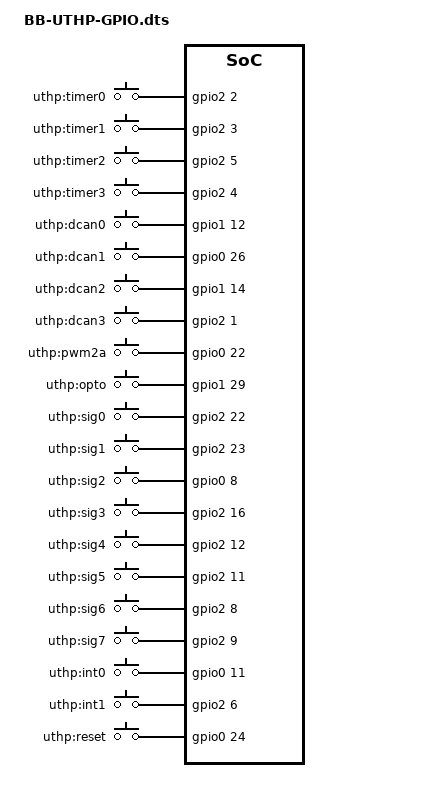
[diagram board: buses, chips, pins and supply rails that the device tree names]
/dts-v1/;
/plugin/;

/ {
    compatible = "ti,beaglebone", "ti,beaglebone-black";
    part-number = "UTHP-GPIO";
    version = "00A0";

    fragment@0 {
        target = <&am33xx_pinmux>;
        __overlay__ {
            uthp_gpio_keys_pins: pinmux_uthp_gpio_keys_pins {
                pinctrl-single,pins = <
                /* TIMER PINS */
                    0x090 0x07  /* P8_07: gpio2_2 (output) */
                    0x094 0x07  /* P8_08: gpio2_3 (output) */
                    0x098 0x07  /* P8_09: gpio2_5 (output) */
                    0x09C 0x07  /* P8_10: gpio2_4 (output) */
                /* DCAN BITBANG PINS */
                    0x030 0x27  /* P8_12: gpio1_12 (input) */
                    0x028 0x07  /* P8_14: gpio0_26 (output)*/
                    0x038 0x27  /* P8_16: gpio1_14 (input) */
                    0x08C 0x07  /* P8_18: gpio2_1 (output) */
                
                /* PWM2A */
                    0x020 0x07  /* P8_19: gpio0_22 (output) */
                
                /* OPTOISO */
                    0x07C 0x27  /* P8_26: gpio1_29 (input) */

                /* Sigrok */
                    0x0E0 0x27  /* P8_27: gpio2_22 (input) */
                    0x0E4 0x27  /* P8_29: gpio2_23 (input) */
                    0x0D0 0x27  /* P8_35: gpio0_8 (input) */
                    0x0C8 0x27  /* P8_36: gpio2_16 (input) */
                    0x0B8 0x27  /* P8_39: gpio2_12 (input) */
                    0x0B4 0x27  /* P8_42: gpio2_11 (input) */
                    0x0A8 0x27  /* P8_43: gpio2_8 (input) */
                    0x0AC 0x27  /* P8_44: gpio2_9 (input) */
                
                /* INT CLICK */
                    0x0DC 0x27  /* P8_32: gpio0_11 (input) */
                    0x0A0 0x27  /* P8_45: gpio2_6 (input) */
                
                /* BBB RST */
                    0x0D8 0x07  /* P8_28: gpio0_24 (output) */
                >;
            };
        };
    };

    fragment@1 {
        target = <&ocp>;
        __overlay__ {
            uthp_gpio_keys {
                compatible = "gpio-keys";
                pinctrl-names = "default";
                pinctrl-0 = <&uthp_gpio_keys_pins>;
                status = "okay";

                /* TIMER PINS */
                button0  { label = "uthp:timer0";  gpios = <&gpio2 2 0>;  linux,code = <0x100>; };
                button1  { label = "uthp:timer1";  gpios = <&gpio2 3 0>;  linux,code = <0x101>; };
                button2  { label = "uthp:timer2";  gpios = <&gpio2 5 0>;  linux,code = <0x102>; };
                button3  { label = "uthp:timer3";  gpios = <&gpio2 4 0>;  linux,code = <0x103>; };

                /* DCAN BITBANG PINS */
                button4  { label = "uthp:dcan0";   gpios = <&gpio1 12 0>; linux,code = <0x104>; };
                button5  { label = "uthp:dcan1";   gpios = <&gpio0 26 0>; linux,code = <0x105>; };
                button6  { label = "uthp:dcan2";   gpios = <&gpio1 14 0>; linux,code = <0x106>; };
                button7  { label = "uthp:dcan3";   gpios = <&gpio2 1  0>; linux,code = <0x107>; };

                /* PWM2A */
                button8  { label = "uthp:pwm2a";   gpios = <&gpio0 22 0>; linux,code = <0x108>; };

                /* OPTOISO */
                button9  { label = "uthp:opto";    gpios = <&gpio1 29 0>; linux,code = <0x109>; };

                /* SIGROK */
                button10 { label = "uthp:sig0";    gpios = <&gpio2 22 0>; linux,code = <0x10A>; };
                button11 { label = "uthp:sig1";    gpios = <&gpio2 23 0>; linux,code = <0x10B>; };
                button12 { label = "uthp:sig2";    gpios = <&gpio0 8  0>; linux,code = <0x10C>; };
                button13 { label = "uthp:sig3";    gpios = <&gpio2 16 0>; linux,code = <0x10D>; };
                button14 { label = "uthp:sig4";    gpios = <&gpio2 12 0>; linux,code = <0x10E>; };
                button15 { label = "uthp:sig5";    gpios = <&gpio2 11 0>; linux,code = <0x10F>; };
                button16 { label = "uthp:sig6";    gpios = <&gpio2 8  0>; linux,code = <0x110>; };
                button17 { label = "uthp:sig7";    gpios = <&gpio2 9  0>; linux,code = <0x111>; };

                /* INT CLICK */
                button18 { label = "uthp:int0";    gpios = <&gpio0 11 0>; linux,code = <0x112>; };
                button19 { label = "uthp:int1";    gpios = <&gpio2 6  0>; linux,code = <0x113>; };

                /* BBB RST */
                button20 { label = "uthp:reset";   gpios = <&gpio0 24 0>; linux,code = <0x114>; };
            };
        };
    };
};
